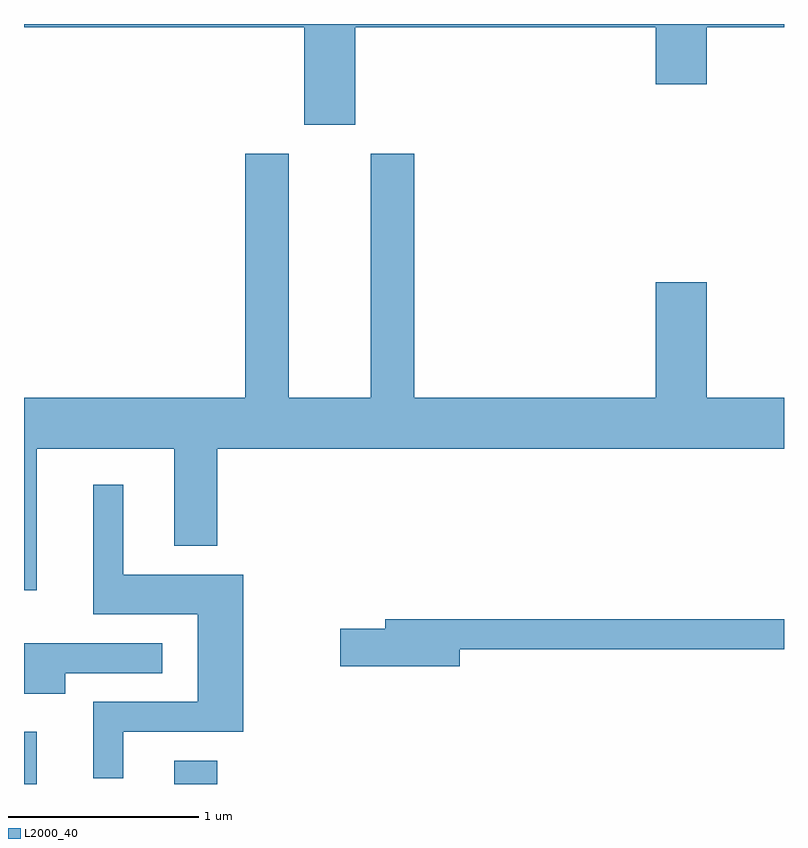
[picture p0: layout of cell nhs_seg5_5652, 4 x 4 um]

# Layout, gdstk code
import gdstk
lib = gdstk.Library(unit=1e-6, precision=1e-09)
def R(c, l, rs):  # rectangles x0, y0, x1, y1
    for r in rs: c.add(gdstk.rectangle(r[:2], r[2:], *l))
def P(c, l, *ps):  # polygons
    for p in ps: c.add(gdstk.Polygon(p, *l))
L2000_40 = (2000, 40)

nhs_seg5_5652 = lib.new_cell('nhs_seg5_5652')
R(nhs_seg5_5652, L2000_40, [(351.611,1526.072,351.679,1526.348), (352.401,1526.072,352.629,1526.194)])
P(nhs_seg5_5652, L2000_40, [(353.354,1530.056),(354.936,1530.056),(354.936,1529.756),(355.204,1529.756),(355.204,1530.056),(355.611,1530.056),(355.611,1530.072),(351.611,1530.072),(351.611,1530.056),(353.086,1530.056),(353.086,1529.541),(353.354,1529.541)],
  [(351.679,1527.836),(352.401,1527.836),(352.401,1527.326),(352.629,1527.326),(352.629,1527.836),(355.611,1527.836),(355.611,1528.104),(355.204,1528.104),(355.204,1528.714),(354.936,1528.714),(354.936,1528.104),(353.664,1528.104),(353.664,1529.389),(353.436,1529.389),(353.436,1528.104),(353.004,1528.104),(353.004,1529.389),(352.776,1529.389),(352.776,1528.104),(351.611,1528.104),(351.611,1527.093),(351.679,1527.093)],
  [(352.134,1526.346),(352.764,1526.346),(352.764,1527.174),(352.134,1527.174),(352.134,1527.648),(351.976,1527.648),(351.976,1526.966),(352.526,1526.966),(352.526,1526.504),(351.976,1526.504),(351.976,1526.103),(352.134,1526.103)],
  [(353.904,1526.781),(355.611,1526.781),(355.611,1526.939),(353.511,1526.939),(353.511,1526.889),(353.276,1526.889),(353.276,1526.691),(353.904,1526.691)],
  [(351.829,1526.656),(352.338,1526.656),(352.338,1526.814),(351.611,1526.814),(351.611,1526.546),(351.829,1526.546)])

lib.write_gds('nhs_seg5_5652.gds')
